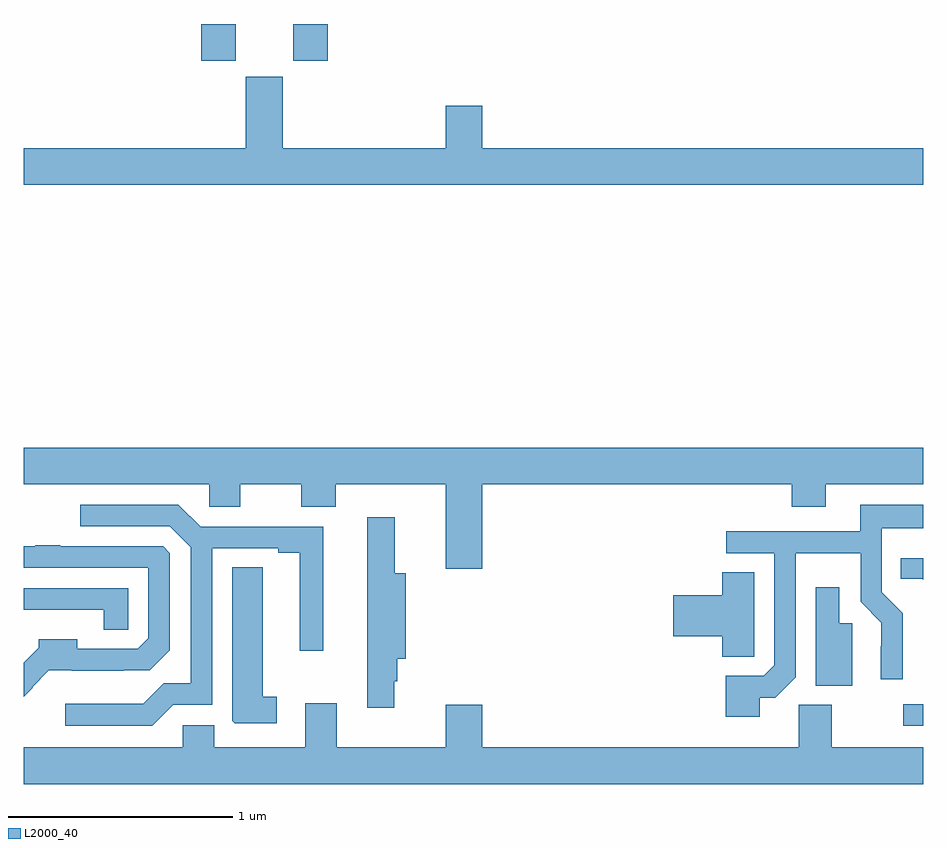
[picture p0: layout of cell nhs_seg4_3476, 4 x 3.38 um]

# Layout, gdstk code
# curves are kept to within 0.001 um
import gdstk
lib = gdstk.Library(unit=1e-6, precision=1e-09)
def R(c, l, rs):  # rectangles x0, y0, x1, y1
    for r in rs: c.add(gdstk.rectangle(r[:2], r[2:], *l))
def P(c, l, *ps):  # polygons
    for p in ps: c.add(gdstk.Polygon(p, *l))
L2000_40 = (2000, 40)

nhs_seg4_3476 = lib.new_cell('nhs_seg4_3476')
R(nhs_seg4_3476, L2000_40, [(298.911,763.779,299,763.875), (295.79,766.737,295.942,766.9), (296.198,766.737,296.351,766.9)])
P(nhs_seg4_3476, L2000_40, [(299,766.348),(297.04,766.348),(297.04,766.537),(296.876,766.537),(296.876,766.348),(296.152,766.348),(296.152,766.665),(295.988,766.665),(295.988,766.348),(295,766.348),(295,766.184),(299,766.184)],
  [(297.04,764.852),(298.415,764.852),(298.415,764.753),(298.567,764.753),(298.567,764.852),(299,764.852),(299,765.016),(295,765.016),(295,764.852),(295.824,764.852),(295.824,764.754),(295.963,764.754),(295.963,764.852),(296.234,764.852),(296.234,764.753),(296.387,764.753),(296.387,764.852),(296.876,764.852),(296.876,764.478),(297.04,764.478)],
  [(295.665,763.872),(295.839,763.872),(295.839,764.568),(296.132,764.568),(296.132,764.548),(296.228,764.548),(296.228,764.112),(296.332,764.112),(296.332,764.664),(295.786,764.664),(295.687,764.763),(295.251,764.763),(295.251,764.667),(295.65,764.667),(295.743,764.574),(295.743,763.967),(295.622,763.967),(295.531,763.876),(295.185,763.876),(295.185,763.779),(295.572,763.779)],
  [(298.273,763.903),(298.341,763.903),(298.434,763.995),(298.434,764.546),(298.722,764.546),(298.722,764.33),(298.814,764.238),(298.814,764.132),(298.812,764.132),(298.812,763.986),(298.908,763.986),(298.908,764.28),(298.815,764.373),(298.815,764.657),(299,764.657),(299,764.761),(298.721,764.761),(298.721,764.643),(298.125,764.643),(298.125,764.547),(298.338,764.547),(298.338,764.049),(298.29,764.001),(298.121,764.001),(298.121,763.818),(298.273,763.818)],
  [(296.647,763.977),(296.66,763.977),(296.66,764.078),(296.699,764.078),(296.699,764.458),(296.65,764.458),(296.65,764.707),(296.528,764.707),(296.528,763.86),(296.647,763.86)],
  [(295.039,763.949),(295.037,763.951),(295.111,764.025),(295.445,764.024),(295.445,764.026),(295.561,764.026),(295.65,764.115),(295.65,764.547),(295.62,764.577),(295.163,764.577),(295.163,764.582),(295.051,764.582),(295.051,764.577),(295,764.577),(295,764.481),(295.554,764.481),(295.554,764.169),(295.506,764.121),(295.237,764.121),(295.237,764.164),(295.066,764.164),(295.066,764.125),(295,764.059),(295,763.909)],
  [(299,764.525),(298.9,764.525),(298.9,764.433),(298.995,764.433),(299,764.428)],
  [(296.125,763.907),(296.062,763.907),(296.062,764.483),(295.928,764.483),(295.928,763.801),(295.938,763.791),(296.125,763.791)],
  [(298.248,764.194),(298.249,764.194),(298.249,764.462),(298.106,764.462),(298.106,764.36),(297.888,764.36),(297.888,764.177),(298.106,764.177),(298.106,764.086),(298.248,764.086)],
  [(298.684,764.235),(298.627,764.235),(298.627,764.395),(298.523,764.395),(298.523,763.957),(298.684,763.957)],
  [(295.464,764.391),(295,764.391),(295,764.295),(295.101,764.295),(295.101,764.294),(295.356,764.294),(295.356,764.206),(295.464,764.206)],
  [(299,763.684),(298.593,763.684),(298.593,763.872),(298.446,763.872),(298.446,763.684),(297.04,763.684),(297.04,763.873),(296.876,763.873),(296.876,763.684),(296.392,763.684),(296.392,763.879),(296.252,763.879),(296.252,763.684),(295.846,763.684),(295.846,763.782),(295.707,763.782),(295.707,763.684),(295,763.684),(295,763.52),(299,763.52)])

lib.write_gds('nhs_seg4_3476.gds')
